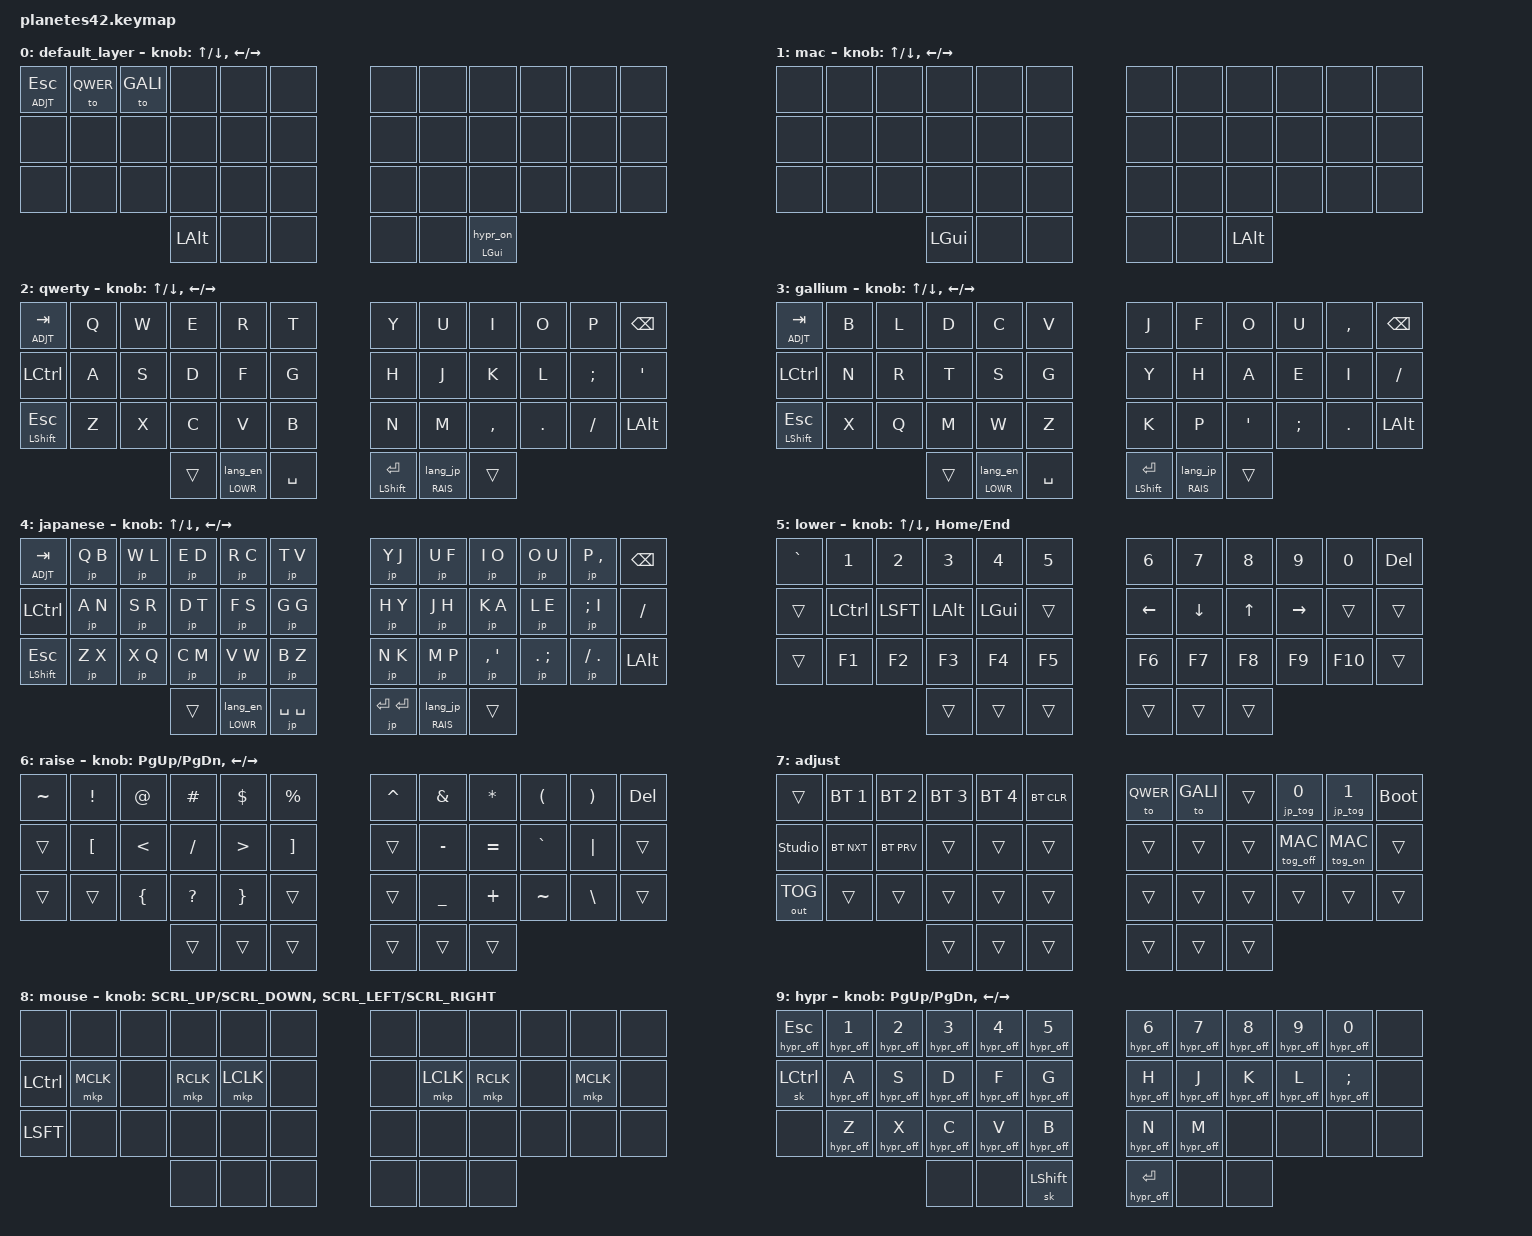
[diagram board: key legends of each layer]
/*
 * Copyright (c) 2021-2025 The ZMK Contributors
 *
 * SPDX-License-Identifier: MIT
 */
#define ZMK_MOUSE_SCRL_VAL 140

#include <behaviors.dtsi>
#include <dt-bindings/zmk/keys.h>
#include <dt-bindings/zmk/bt.h>
#include <dt-bindings/zmk/outputs.h>
#include <dt-bindings/zmk/pointing.h>
#include <behaviors/japanese_input.dtsi>

#define MAC 1
#define QWER 2
#define GALI 3
#define JAPN 4
#define LOWR 5
#define RAIS 6
#define ADJT 7
#define HYPR 9
#define MOUSE 8

// restore layer click mkp key after 250ms
&mkp_input_listener {
  input-processors = <&zip_temp_layer MOUSE 250>;
};

&msc_input_listener {
  input-processors = <&zip_temp_layer MOUSE 250>;
};

&mmv {
  time-to-max-speed-ms = <300>;             /* <--- How long time until max speed is reached (default: 500) */
};

&lt {
  flavor = "hold-preferred";
};    

/ {
  macros {
      hypr_on: hyprland_on {
          compatible = "zmk,behavior-macro";
          #binding-cells = <0>;
          bindings
              = <&macro_tap &tog_on HYPR>
              , <&macro_tap &sk LGUI>
              ;
      };

      hypr_off: hyprland_off {
        compatible = "zmk,behavior-macro-one-param";
        #binding-cells = <1>;
        bindings
              = <&macro_param_1to1 &macro_tap &kp MACRO_PLACEHOLDER>
              , <&macro_tap &tog_off HYPR>
              ;
      };

      lang_jp: lang_jp {
          compatible = "zmk,behavior-macro";
          #binding-cells = <0>;
          bindings
              = <&macro_tap &tog_on JAPN>
              , <&macro_tap &kp LANG1>
              ;
      };

      lang_en: lang_en {
        compatible = "zmk,behavior-macro";
        #binding-cells = <0>;
        bindings
              = <&macro_tap &tog_off JAPN>
              , <&macro_tap &kp LANG2>
              ;
      };
  };
    
  behaviors {
      
      rot_kp: sensor_rotate_kp {
          compatible = "zmk,behavior-sensor-rotate-var";
          #sensor-binding-cells = <2>;
          bindings = <&kp>, <&kp>;
      };

      rot_msc: sensor_rotate_msc {
          compatible = "zmk,behavior-sensor-rotate-var";
          #sensor-binding-cells = <2>;
          bindings = <&msc>, <&msc>;
          tap-ms = <20>;
      };

      tog_on: toggle_layer_on_only {
          compatible = "zmk,behavior-toggle-layer";
          #binding-cells = <1>;
          display-name = "Toggle Layer On";
          toggle-mode = "on";
      };

      tog_off: toggle_layer_off_only {
          compatible = "zmk,behavior-toggle-layer";
          #binding-cells = <1>;
          display-name = "Toggle Layer Off";
          toggle-mode = "off";
      };

      mt_hypr: mt_hypr {
            compatible = "zmk,behavior-hold-tap";
            display-name = "MT for HYPR";
            bindings = <&kp>, <&hypr_on>;

            #binding-cells = <2>;
            tapping-term-ms = <200>;
            flavor = "balanced";
            quick-tap-ms = <200>;
      };

      lt_lang2: lt_lang2 {
            compatible = "zmk,behavior-hold-tap";
            display-name = "LT for LANG2";
            bindings = <&mo>, <&lang_en>;

            #binding-cells = <2>;
            tapping-term-ms = <200>;
            flavor = "hold-preferred";
      };

      lt_lang1: lt_lang1 {
            compatible = "zmk,behavior-hold-tap";
            display-name = "LT for LANG1";
            bindings = <&mo>, <&lang_jp>;

            #binding-cells = <2>;
            tapping-term-ms = <200>;
            flavor = "hold-preferred";
      };
  };

  keymap {
    compatible = "zmk,keymap";

    default_layer {
      bindings = <
  &lt ADJT ESC   &to QWER &to GALI &none     &none    &none                     &none    &none    &none     &none   &none    &none
  &none          &none    &none    &none     &none    &none                     &none    &none    &none     &none   &none    &none
  &none          &none    &none    &none     &none    &none                     &none    &none    &none     &none   &none    &none
                                &kp LALT     &none    &none                     &none    &none    &mt_hypr LGUI 0
      >;

        sensor-bindings = <&rot_kp UP DOWN &rot_kp LEFT RIGHT>;
    };
    mac {
      bindings = <
  &none   &none    &none &none     &none    &none                     &none    &none    &none     &none   &none    &none
  &none   &none    &none &none     &none    &none                     &none    &none    &none     &none   &none    &none
  &none   &none    &none &none     &none    &none                     &none    &none    &none     &none   &none    &none
                         &kp LGUI  &none    &none                     &none    &none    &kp LALT
      >;

        sensor-bindings = <&rot_kp UP DOWN &rot_kp LEFT RIGHT>;
    };

    qwerty {
      bindings = <
  &lt ADJT TAB  &kp Q &kp W &kp E     &kp R          &kp T                    &kp Y           &kp U              &kp I     &kp O   &kp P    &kp BSPC
  &kp LCTRL     &kp A &kp S &kp D     &kp F          &kp G                    &kp H           &kp J              &kp K     &kp L   &kp SEMI &kp SQT
  &mt LSHFT ESC &kp Z &kp X &kp C     &kp V          &kp B                    &kp N           &kp M              &kp COMMA &kp DOT &kp FSLH &kp LALT
                            &trans    &lt_lang2 LOWR 0 &kp SPACE                &mt LSHFT ENTER &lt_lang1 RAIS 0 &trans
      >;
      sensor-bindings = <&rot_kp UP DOWN &rot_kp LEFT RIGHT>;
    };

    gallium {
      bindings = <
  &lt ADJT TAB  &kp B &kp L &kp D     &kp C          &kp V                    &kp J           &kp F             &kp O     &kp U    &kp COMMA &kp BSPC
  &kp LCTRL     &kp N &kp R &kp T     &kp S          &kp G                    &kp Y           &kp H             &kp A     &kp E    &kp I     &kp FSLH
  &mt LSHFT ESC &kp X &kp Q &kp M     &kp W          &kp Z                    &kp K           &kp P             &kp SQT   &kp SEMI &kp DOT   &kp LALT
                            &trans  &lt_lang2 LOWR 0 &kp SPACE                &mt LSHFT ENTER &lt_lang1 RAIS 0  &trans
      >;

          sensor-bindings = <&rot_kp UP DOWN &rot_kp LEFT RIGHT>;
    };

    japanese {
      bindings = <
  &lt ADJT TAB  &jp Q B &jp W L &jp E D   &jp R C          &jp T V                  &jp Y J         &jp U F          &jp I O       &jp O U      &jp P COMMA  &kp BSPC
  &kp LCTRL     &jp A N &jp S R &jp D T   &jp F S          &jp G G                  &jp H Y         &jp J H          &jp K A       &jp L E      &jp SEMI I   &kp FSLH
  &mt LSHFT ESC &jp Z X &jp X Q &jp C M   &jp V W          &jp B Z                  &jp N K         &jp M P          &jp COMMA SQT &jp DOT SEMI &jp FSLH DOT &kp LALT
                                &trans    &lt_lang2 LOWR 0 &jp SPACE SPACE          &jp ENTER ENTER &lt_lang1 RAIS 0 &trans
      >;
      sensor-bindings = <&rot_kp UP DOWN &rot_kp LEFT RIGHT>;
    };

    lower {
      bindings = <
  &kp GRAVE &kp N1    &kp N2   &kp N3   &kp N4   &kp N5           &kp N6   &kp N7   &kp N8 &kp N9    &kp N0  &kp DEL
  &trans    &kp LCTRL &kp LSFT &kp LALT &kp LGUI &trans           &kp LEFT &kp DOWN &kp UP &kp RIGHT &trans  &trans
  &trans    &kp F1    &kp F2   &kp F3   &kp F4   &kp F5           &kp F6   &kp F7   &kp F8 &kp F9    &kp F10 &trans
                               &trans   &trans   &trans           &trans   &trans   &trans
      >;

          sensor-bindings = <&rot_kp UP DOWN &rot_kp HOME END>;
    };
    raise {
      bindings = <
  &kp TILDE &kp EXCL &kp AT   &kp HASH  &kp DOLLAR &kp PERCENT    &kp CARET  &kp AMPS  &kp ASTRK &kp LPRN  &kp RPRN &kp DEL
  &trans    &kp LBKT &kp LT   &kp FSLH  &kp GT     &kp RBKT       &trans     &kp MINUS &kp EQUAL &kp GRAVE &kp PIPE &trans
  &trans    &trans   &kp LBRC &kp QMARK &kp RBRC   &trans         &trans     &kp UNDER &kp PLUS  &kp TILDE &kp BSLH &trans
                                 &trans &trans     &trans         &trans     &trans    &trans
      >;

          sensor-bindings = <&rot_kp PG_UP PG_DN &rot_kp LEFT RIGHT>;
    };

    adjust {
      bindings = <
  &trans         &bt BT_SEL 1 &bt BT_SEL 2 &bt BT_SEL 3 &bt BT_SEL 4 &bt BT_CLR      &to QWER &to GALI &trans  &jp_tog 0     &jp_tog 1    &bootloader
  &studio_unlock &bt BT_NXT   &bt BT_PRV   &trans       &trans       &trans          &trans   &trans   &trans  &tog_off MAC  &tog_on MAC  &trans
  &out OUT_TOG   &trans       &trans       &trans       &trans       &trans          &trans   &trans   &trans  &trans        &trans       &trans
                                           &trans       &trans       &trans          &trans   &trans   &trans
      >;
    };

    mouse {
      bindings = <
  &none     &none     &none    &none     &none     &none                     &none    &none     &none     &none   &none     &none
  &kp LCTL  &mkp MCLK &none    &mkp RCLK &mkp LCLK &none                     &none    &mkp LCLK &mkp RCLK &none   &mkp MCLK &none
  &kp LSFT  &none     &none    &none     &none     &none                     &none    &none     &none     &none   &none     &none
                               &none     &none     &none                     &none    &none     &none
      >;

        sensor-bindings = <&rot_msc SCRL_UP SCRL_DOWN &rot_msc SCRL_LEFT SCRL_RIGHT>;
    };

    hypr {
      bindings = <
  &hypr_off ESC &hypr_off N1   &hypr_off N2 &hypr_off N3  &hypr_off N4   &hypr_off N5        &hypr_off N6    &hypr_off N7    &hypr_off N8 &hypr_off N9  &hypr_off N0   &none
  &sk LCTRL     &hypr_off A    &hypr_off S  &hypr_off D   &hypr_off F    &hypr_off G         &hypr_off H     &hypr_off J     &hypr_off K  &hypr_off L   &hypr_off SEMI &none
  &none         &hypr_off Z    &hypr_off X  &hypr_off C   &hypr_off V    &hypr_off B         &hypr_off N     &hypr_off M     &none        &none         &none          &none
                                            &none         &none          &sk LSHIFT          &hypr_off ENTER &none           &none
      >;

          sensor-bindings = <&rot_kp PG_UP PG_DN &rot_kp LEFT RIGHT>;
    };

  };
};
